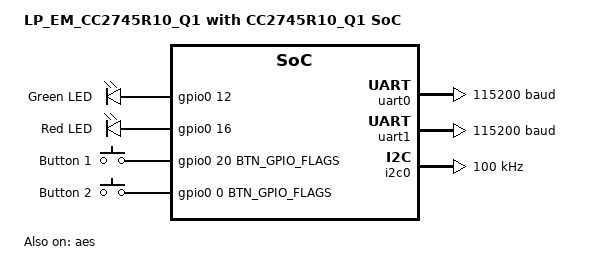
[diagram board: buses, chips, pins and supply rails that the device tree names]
/*
 * Copyright (c) 2025 Texas Instruments Incorporated
 * Copyright (c) 2024 BayLibre, SAS
 *
 * SPDX-License-Identifier: Apache-2.0
 */

/dts-v1/;

#include <ti/cc2745r10_q1.dtsi>
#include "boosterpack_connector.dtsi"
#include "lp_em_cc2745r10_q1_cc2745r10_q1-pinctrl.dtsi"
#include <zephyr/dt-bindings/gpio/gpio.h>
#include <zephyr/dt-bindings/input/input-event-codes.h>

#define BTN_GPIO_FLAGS (GPIO_ACTIVE_LOW | GPIO_PULL_UP)

/ {
	model = "LP_EM_CC2745R10_Q1 with CC2745R10_Q1 SoC";

	chosen {
		zephyr,sram = &sram0;
		zephyr,flash = &flash0;
		zephyr,console = &uart0;
		zephyr,shell-uart = &uart0;
		zephyr,bt_hci = &ti_bt_hci;
		zephyr,bt-c2h-uart = &uart0;
		zephyr,code-partition = &slot0_partition;
		zephyr,uart-mcumgr = &uart0;
	};

	aliases {
		led0 = &led0;
		led1 = &led1;
		sw0 = &btn0;
		sw1 = &btn1;
	};

	leds {
		compatible = "gpio-leds";
		led0: led_0 {
			gpios = <&gpio0 12 GPIO_ACTIVE_HIGH>;
			label = "Green LED";
		};
		led1: led_1 {
			gpios = <&gpio0 16 GPIO_ACTIVE_HIGH>;
			label = "Red LED";
		};
	};

	keys {
		compatible = "gpio-keys";
		btn0: btn_0 {
			gpios = <&gpio0 20 BTN_GPIO_FLAGS>;
			label = "Button 1";
			zephyr,code = <INPUT_KEY_0>;
		};
		btn1: btn_1 {
			gpios = <&gpio0 0 BTN_GPIO_FLAGS>;
			label = "Button 2";
			zephyr,code = <INPUT_KEY_1>;
		};
	};

	lfxosc: lf_xosc {
		compatible = "ti,cc27xx-lf-xosc";
	};

ti_bt_hci: ti_bt_hci {
		compatible = "ti,bt-hci";
		status = "okay";
	};
};

/delete-node/ &slot0_partition;
&flash0 {
	partitions {
		/* 40 KiB (0xa000) for MCUboot */
		boot_partition: partition@0 {
			label = "mcuboot";
			reg = <0x00000000 0x0000a000>;
		};

		/* 233472 Bytes (0x39000) per slot for application */
		slot0_partition: partition@a000 {
			label = "image-0";
			reg = <0x0000a000 0x0006d000>;
		};

		slot1_partition: partition@77000 {
			label = "image-1";
			reg = <0x00077000 0x0006d000>;
		};
	};
};

&cpu0 {
	clock-frequency = <96000000>;
};

&gpio0 {
	status = "okay";
};

&uart0{
	status = "okay";
	current-speed = <115200>;
	pinctrl-0 = <&uart0_rx_default &uart0_tx_default>;
	pinctrl-names = "default";
};

&uart1{
	status = "okay";
	current-speed = <115200>;
	pinctrl-0 = <&uart1_rx_default &uart1_tx_default>;
	pinctrl-names = "default";
};

&i2c0 {
	status = "okay";
	pinctrl-0 = <&i2c0_scl_default
		     &i2c0_sda_default>;
	clock-frequency = <100000>;
	pinctrl-names = "default";
};


&aes {
	status = "okay";
};

&dma {
	status = "okay";
};
